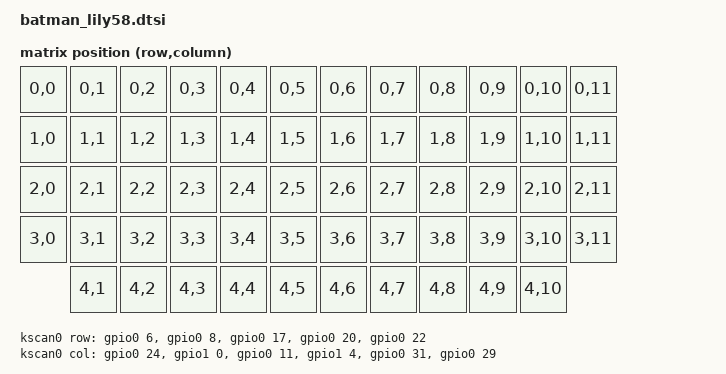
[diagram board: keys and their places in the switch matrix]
#include <dt-bindings/zmk/matrix_transform.h>
#include <dt-bindings/gpio/gpio.h>

/ {
    chosen {
        zmk,kscan = &kscan0;
        zmk,matrix_transform = &default_transform;
        zmk,physical-layout = &batman_layout;
    };

    // --- ZMK STUDIO GÖRSEL MATRİS VE KOORDİNAT HARİTASI ---
    physical_layouts {
        compatible = "zmk,physical-layouts";
        batman_layout: batman_layout {
            compatible = "zmk,physical-layout";
            display-name = "Batman Lily58 Wireless";
            transform = <&default_transform>;
            kscan = <&kscan0>;
            keys = <
                // Satır 0
                &k00 &k01 &k02 &k03 &k04 &k05    &k06 &k07 &k08 &k09 &k10 &k11
                // Satır 1
                &k12 &k13 &k14 &k15 &k16 &k17    &k18 &k19 &k20 &k21 &k22 &k23
                // Satır 2
                &k24 &k25 &k26 &k27 &k28 &k29    &k30 &k31 &k32 &k33 &k34 &k35
                // Satır 3
                &k36 &k37 &k38 &k39 &k40 &k41    &k42 &k43 &k44 &k45 &k46 &k47
                // Satır 4 (Başparmaklar)
                          &k48 &k49 &k50 &k51 &k52    &k53 &k54 &k55 &k56 &k57
            >;
        };
    };

    // --- 58 TUŞUN FİZİKSEL X/Y KOORDİNATLARI (CHROME ARAYÜZÜ İÇİN ZORUNLU) ---
    // Sol Yarı (X: 0 - 500 arası) | Sağ Yarı (X: 700 - 1200 arası) | Standart 1U Tuş = 100x100
    
    // Satır 0 (Y: 0)
    k00: k00 { compatible = "zmk,key-physical-attrs"; width = <100>; height = <100>; x = <0>; y = <0>; };
    k01: k01 { compatible = "zmk,key-physical-attrs"; width = <100>; height = <100>; x = <100>; y = <0>; };
    k02: k02 { compatible = "zmk,key-physical-attrs"; width = <100>; height = <100>; x = <200>; y = <0>; };
    k03: k03 { compatible = "zmk,key-physical-attrs"; width = <100>; height = <100>; x = <300>; y = <0>; };
    k04: k04 { compatible = "zmk,key-physical-attrs"; width = <100>; height = <100>; x = <400>; y = <0>; };
    k05: k05 { compatible = "zmk,key-physical-attrs"; width = <100>; height = <100>; x = <500>; y = <0>; };
    k06: k06 { compatible = "zmk,key-physical-attrs"; width = <100>; height = <100>; x = <700>; y = <0>; };
    k07: k07 { compatible = "zmk,key-physical-attrs"; width = <100>; height = <100>; x = <800>; y = <0>; };
    k08: k08 { compatible = "zmk,key-physical-attrs"; width = <100>; height = <100>; x = <900>; y = <0>; };
    k09: k09 { compatible = "zmk,key-physical-attrs"; width = <100>; height = <100>; x = <1000>; y = <0>; };
    k10: k10 { compatible = "zmk,key-physical-attrs"; width = <100>; height = <100>; x = <1100>; y = <0>; };
    k11: k11 { compatible = "zmk,key-physical-attrs"; width = <100>; height = <100>; x = <1200>; y = <0>; };

    // Satır 1 (Y: 100)
    k12: k12 { compatible = "zmk,key-physical-attrs"; width = <100>; height = <100>; x = <0>; y = <100>; };
    k13: k13 { compatible = "zmk,key-physical-attrs"; width = <100>; height = <100>; x = <100>; y = <100>; };
    k14: k14 { compatible = "zmk,key-physical-attrs"; width = <100>; height = <100>; x = <200>; y = <100>; };
    k15: k15 { compatible = "zmk,key-physical-attrs"; width = <100>; height = <100>; x = <300>; y = <100>; };
    k16: k16 { compatible = "zmk,key-physical-attrs"; width = <100>; height = <100>; x = <400>; y = <100>; };
    k17: k17 { compatible = "zmk,key-physical-attrs"; width = <100>; height = <100>; x = <500>; y = <100>; };
    k18: k18 { compatible = "zmk,key-physical-attrs"; width = <100>; height = <100>; x = <700>; y = <100>; };
    k19: k19 { compatible = "zmk,key-physical-attrs"; width = <100>; height = <100>; x = <800>; y = <100>; };
    k20: k20 { compatible = "zmk,key-physical-attrs"; width = <100>; height = <100>; x = <900>; y = <100>; };
    k21: k21 { compatible = "zmk,key-physical-attrs"; width = <100>; height = <100>; x = <1000>; y = <100>; };
    k22: k22 { compatible = "zmk,key-physical-attrs"; width = <100>; height = <100>; x = <1100>; y = <100>; };
    k23: k23 { compatible = "zmk,key-physical-attrs"; width = <100>; height = <100>; x = <1200>; y = <100>; };

    // Satır 2 (Y: 200)
    k24: k24 { compatible = "zmk,key-physical-attrs"; width = <100>; height = <100>; x = <0>; y = <200>; };
    k25: k25 { compatible = "zmk,key-physical-attrs"; width = <100>; height = <100>; x = <100>; y = <200>; };
    k26: k26 { compatible = "zmk,key-physical-attrs"; width = <100>; height = <100>; x = <200>; y = <200>; };
    k27: k27 { compatible = "zmk,key-physical-attrs"; width = <100>; height = <100>; x = <300>; y = <200>; };
    k28: k28 { compatible = "zmk,key-physical-attrs"; width = <100>; height = <100>; x = <400>; y = <200>; };
    k29: k29 { compatible = "zmk,key-physical-attrs"; width = <100>; height = <100>; x = <500>; y = <200>; };
    k30: k30 { compatible = "zmk,key-physical-attrs"; width = <100>; height = <100>; x = <700>; y = <200>; };
    k31: k31 { compatible = "zmk,key-physical-attrs"; width = <100>; height = <100>; x = <800>; y = <200>; };
    k32: k32 { compatible = "zmk,key-physical-attrs"; width = <100>; height = <100>; x = <900>; y = <200>; };
    k33: k33 { compatible = "zmk,key-physical-attrs"; width = <100>; height = <100>; x = <1000>; y = <200>; };
    k34: k34 { compatible = "zmk,key-physical-attrs"; width = <100>; height = <100>; x = <1100>; y = <200>; };
    k35: k35 { compatible = "zmk,key-physical-attrs"; width = <100>; height = <100>; x = <1200>; y = <200>; };

    // Satır 3 (Y: 300)
    k36: k36 { compatible = "zmk,key-physical-attrs"; width = <100>; height = <100>; x = <0>; y = <300>; };
    k37: k37 { compatible = "zmk,key-physical-attrs"; width = <100>; height = <100>; x = <100>; y = <300>; };
    k38: k38 { compatible = "zmk,key-physical-attrs"; width = <100>; height = <100>; x = <200>; y = <300>; };
    k39: k39 { compatible = "zmk,key-physical-attrs"; width = <100>; height = <100>; x = <300>; y = <300>; };
    k40: k40 { compatible = "zmk,key-physical-attrs"; width = <100>; height = <100>; x = <400>; y = <300>; };
    k41: k41 { compatible = "zmk,key-physical-attrs"; width = <100>; height = <100>; x = <500>; y = <300>; };
    k42: k42 { compatible = "zmk,key-physical-attrs"; width = <100>; height = <100>; x = <700>; y = <300>; };
    k43: k43 { compatible = "zmk,key-physical-attrs"; width = <100>; height = <100>; x = <800>; y = <300>; };
    k44: k44 { compatible = "zmk,key-physical-attrs"; width = <100>; height = <100>; x = <900>; y = <300>; };
    k45: k45 { compatible = "zmk,key-physical-attrs"; width = <100>; height = <100>; x = <1000>; y = <300>; };
    k46: k46 { compatible = "zmk,key-physical-attrs"; width = <100>; height = <100>; x = <1100>; y = <300>; };
    k47: k47 { compatible = "zmk,key-physical-attrs"; width = <100>; height = <100>; x = <1200>; y = <300>; };

    // Satır 4 (Başparmaklar - Y: 400)
    k48: k48 { compatible = "zmk,key-physical-attrs"; width = <100>; height = <100>; x = <200>; y = <400>; };
    k49: k49 { compatible = "zmk,key-physical-attrs"; width = <100>; height = <100>; x = <300>; y = <400>; };
    k50: k50 { compatible = "zmk,key-physical-attrs"; width = <100>; height = <100>; x = <400>; y = <400>; };
    k51: k51 { compatible = "zmk,key-physical-attrs"; width = <100>; height = <100>; x = <500>; y = <400>; };
    k52: k52 { compatible = "zmk,key-physical-attrs"; width = <100>; height = <100>; x = <600>; y = <400>; };
    
    k53: k53 { compatible = "zmk,key-physical-attrs"; width = <100>; height = <100>; x = <700>; y = <400>; };
    k54: k54 { compatible = "zmk,key-physical-attrs"; width = <100>; height = <100>; x = <800>; y = <400>; };
    k55: k55 { compatible = "zmk,key-physical-attrs"; width = <100>; height = <100>; x = <900>; y = <400>; };
    k56: k56 { compatible = "zmk,key-physical-attrs"; width = <100>; height = <100>; x = <1000>; y = <400>; };
    k57: k57 { compatible = "zmk,key-physical-attrs"; width = <100>; height = <100>; x = <1100>; y = <400>; };

    // --- 58 TUŞLU HAND-WIRED ELEKTRONİK MATRİS (DONANIM HARİTASI) ---
    default_transform: keymap_transform_0 {
        compatible = "zmk,matrix-transform";
        columns = <12>; // 6 Sol + 6 Sağ
        rows = <5>;
        
        map = <
        RC(0,0) RC(0,1) RC(0,2) RC(0,3) RC(0,4) RC(0,5)    RC(0,6) RC(0,7) RC(0,8) RC(0,9) RC(0,10) RC(0,11)
        RC(1,0) RC(1,1) RC(1,2) RC(1,3) RC(1,4) RC(1,5)    RC(1,6) RC(1,7) RC(1,8) RC(1,9) RC(1,10) RC(1,11)
        RC(2,0) RC(2,1) RC(2,2) RC(2,3) RC(2,4) RC(2,5)    RC(2,6) RC(2,7) RC(2,8) RC(2,9) RC(2,10) RC(2,11)
        RC(3,0) RC(3,1) RC(3,2) RC(3,3) RC(3,4) RC(3,5)    RC(3,6) RC(3,7) RC(3,8) RC(3,9) RC(3,10) RC(3,11)
                RC(4,1) RC(4,2) RC(4,3) RC(4,4) RC(4,5)    RC(4,6) RC(4,7) RC(4,8) RC(4,9) RC(4,10)
        >;
    };

    kscan0: kscan_0 {
        compatible = "zmk,kscan-gpio-matrix";
        label = "KSCAN";
        diode-direction = "col2row"; 

        row-gpios
            = <&gpio0 6 (GPIO_ACTIVE_HIGH | GPIO_PULL_DOWN)>  // R0
            , <&gpio0 8 (GPIO_ACTIVE_HIGH | GPIO_PULL_DOWN)>  // R1
            , <&gpio0 17 (GPIO_ACTIVE_HIGH | GPIO_PULL_DOWN)> // R2
            , <&gpio0 20 (GPIO_ACTIVE_HIGH | GPIO_PULL_DOWN)> // R3
            , <&gpio0 22 (GPIO_ACTIVE_HIGH | GPIO_PULL_DOWN)> // R4
            ;

        col-gpios
            = <&gpio0 24 GPIO_ACTIVE_HIGH> // C0
            , <&gpio1 0 GPIO_ACTIVE_HIGH>  // C1
            , <&gpio0 11 GPIO_ACTIVE_HIGH> // C2
            , <&gpio1 4 GPIO_ACTIVE_HIGH>  // C3
            , <&gpio0 31 GPIO_ACTIVE_HIGH> // C4
            , <&gpio0 29 GPIO_ACTIVE_HIGH> // C5
            ;
    };
};
